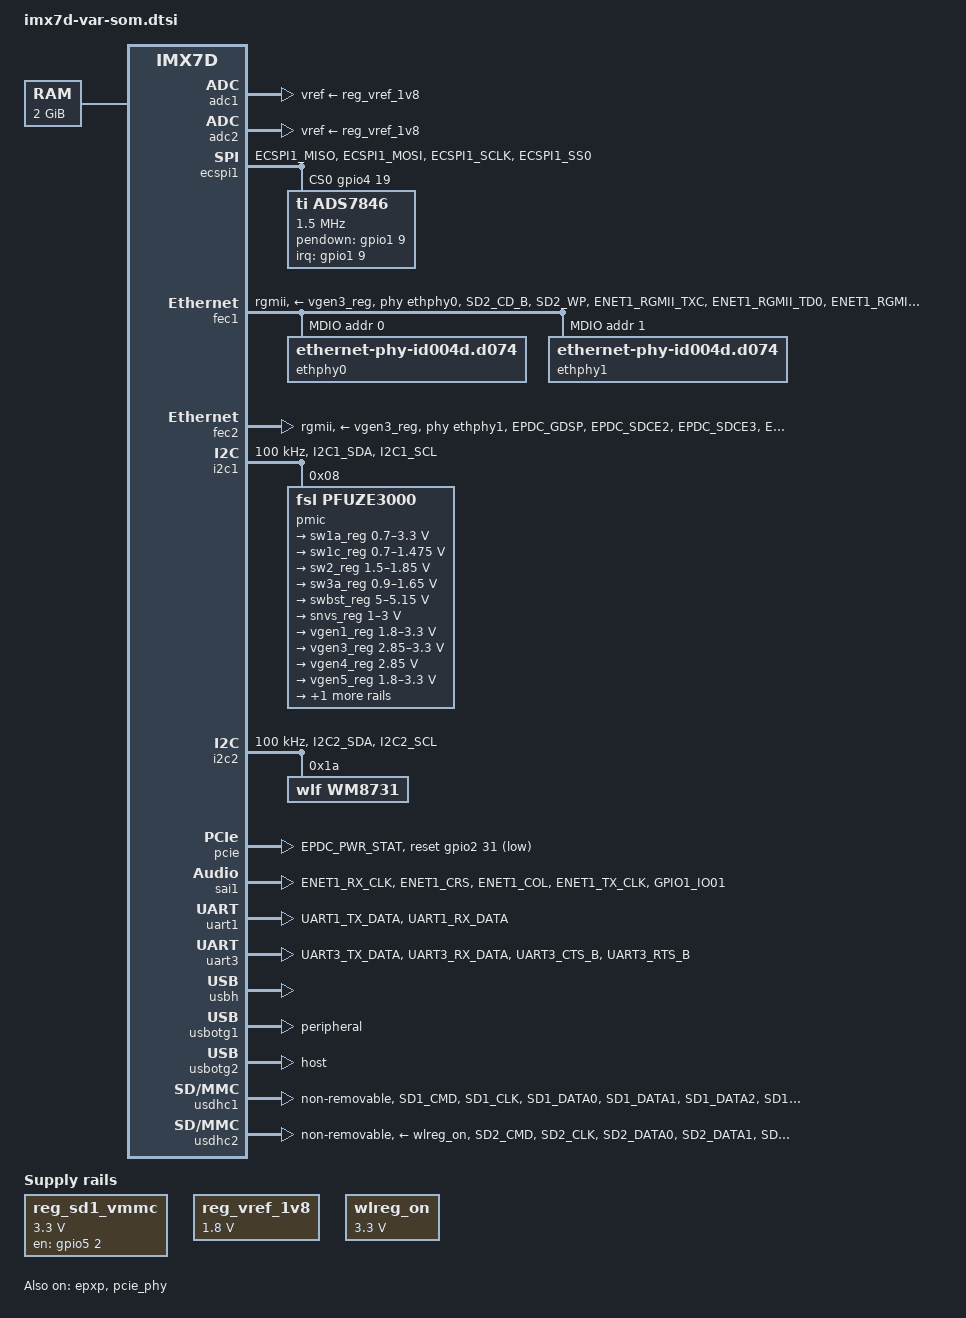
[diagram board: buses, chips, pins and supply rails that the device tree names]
/*
 * Copyright (C) 2015 Freescale Semiconductor, Inc.
 *
 * This program is free software; you can redistribute it and/or modify
 * it under the terms of the GNU General Public License version 2 as
 * published by the Free Software Foundation.
 */
#include <dt-bindings/input/input.h>
#include "imx7d.dtsi"

/ {
	memory {
		reg = <0x80000000 0x80000000>;
	};

	pxp_v4l2_out {
		compatible = "fsl,imx7d-pxp-v4l2", "fsl,imx6sx-pxp-v4l2", "fsl,imx6sl-pxp-v4l2";
		status = "okay";
	};

	sound {
		compatible = "simple-audio-card";
		simple-audio-card,name = "wm8731audio";
		simple-audio-card,widgets =
			"Headphone", "Headphone Jack",
			"Line", "Line Out",
			"Microphone", "Mic Jack",
			"Line", "Line In";
		simple-audio-card,routing =
			"Headphone Jack", "RHPOUT",
			"Headphone Jack", "LHPOUT",
			"LLINEIN", "Line Jack",
			"RLINEIN", "Line Jack",
			"MICIN", "Mic Bias",
			"Mic Bias", "Mic Jack";
		simple-audio-card,format = "i2s";
		simple-audio-card,bitclock-master = <&sound_master>;
		simple-audio-card,frame-master = <&sound_master>;
		/*simple-audio-card,bitclock-inversion;*/

		assigned-clocks = <&clks IMX7D_AUDIO_MCLK_ROOT_SRC>,
			          <&clks IMX7D_AUDIO_MCLK_ROOT_CLK>;
		assigned-clock-parents = <&clks IMX7D_PLL_AUDIO_POST_DIV>;
		assigned-clock-rates = <0>, <12288000>;

		sound_master: simple-audio-card,cpu {
			sound-dai = <&sai1 0>;
			system-clock-direction = "out";
		};

		simple-audio-card,codec {
			sound-dai = <&wm8731>;
			system-clock-type = "mclk";
			system-clock-frequency = <12288000>;
			system-clock-direction = "in";
		};
	};

	regulators {
		compatible = "simple-bus";
		#address-cells = <1>;
		#size-cells = <0>;

		reg_sd1_vmmc: regulator@3 {
			compatible = "regulator-fixed";
			regulator-name = "VDD_SD1";
			regulator-min-microvolt = <3300000>;
			regulator-max-microvolt = <3300000>;
			gpio = <&gpio5 2 GPIO_ACTIVE_HIGH>;
			startup-delay-us = <200000>;
			enable-active-high;
		};

		reg_vref_1v8: regulator@5 {
			compatible = "regulator-fixed";
			reg = <5>;
			regulator-name = "vref-1v8";
			regulator-min-microvolt = <1800000>;
			regulator-max-microvolt = <1800000>;
		};

		wlreg_on: fixedregulator@100 {
			compatible = "regulator-fixed";
			regulator-min-microvolt = <3300000>;
			regulator-max-microvolt = <3300000>;
			regulator-name = "wlreg_on";
		};
	};
};

&adc1 {
	vref-supply = <&reg_vref_1v8>;
	status = "okay";
};

&adc2 {
	vref-supply = <&reg_vref_1v8>;
	status = "okay";
};

&cpu0 {
	arm-supply = <&sw1a_reg>;
};

&clks {
	assigned-clocks = <&clks IMX7D_PLL_AUDIO_POST_DIV>;
	assigned-clock-rates = <884736000>;
};

&epxp {
	status = "okay";
};

&ecspi1 {
	fsl,spi-num-chipselects = <1>;
	pinctrl-names = "default", "sleep";
	pinctrl-0 = <&pinctrl_ecspi1>;
	pinctrl-1 = <&pinctrl_ecspi1_sleep>;
	cs-gpios = <&gpio4 19 0>;
	status = "okay";

	/* Touch */
	ads7846@0 {
		reg = <0>;
		compatible = "ti,ads7846";
		interrupt-parent = <&gpio1>;
		interrupts = <9 0>;
		spi-max-frequency = <1500000>;
		pendown-gpio = <&gpio1 9 0>;
		ti,x-min = /bits/ 16 <125>;
		ti,x-max = /bits/ 16 <4008>;
		ti,y-min = /bits/ 16 <282>;
		ti,y-max = /bits/ 16 <3864>;
		ti,x-plate-ohms = /bits/ 16 <180>;
		ti,pressure-max = /bits/ 16 <255>;
		ti,debounce-max = /bits/ 16 <10>;
		ti,debounce-tol = /bits/ 16 <3>;
		ti,debounce-rep = /bits/ 16 <1>;
		ti,settle-delay-usec = /bits/ 16 <150>;
		ti,keep-vref-on;
		linux,wakeup;
	};
};

&fec1 {
	pinctrl-names = "default";
	pinctrl-0 = <&pinctrl_enet1>;
	phy-supply=<&vgen3_reg>;
	assigned-clocks = <&clks IMX7D_ENET1_TIME_ROOT_SRC>,
			  <&clks IMX7D_ENET1_TIME_ROOT_CLK>;
	assigned-clock-parents = <&clks IMX7D_PLL_ENET_MAIN_100M_CLK>;
	assigned-clock-rates = <0>, <100000000>;
	phy-mode = "rgmii";
	phy-handle = <&ethphy0>;
	fsl,magic-packet;
	status = "okay";
	phy-reset-gpios = <&gpio5 11 GPIO_ACTIVE_LOW>;
        phy-reset-duration=<100>;
        phy-reset-on-resume;

	mdio {
		#address-cells = <1>;
		#size-cells = <0>;

		ethphy0: ethernet-phy@0 {
			compatible = "ethernet-phy-id004d.d074","ethernet-phy-ieee802.3-c22";
			reg = <0>;
		};

		ethphy1: ethernet-phy@1 {
			compatible = "ethernet-phy-id004d.d074","ethernet-phy-ieee802.3-c22";
			reg = <1>;
		};
	};
};

&fec2 {
	pinctrl-names = "default";
	pinctrl-0 = <&pinctrl_enet2>;
	phy-supply=<&vgen3_reg>;
	assigned-clocks = <&clks IMX7D_ENET2_TIME_ROOT_SRC>,
			  <&clks IMX7D_ENET2_TIME_ROOT_CLK>;
	assigned-clock-parents = <&clks IMX7D_PLL_ENET_MAIN_100M_CLK>;
	assigned-clock-rates = <0>, <100000000>;
	phy-mode = "rgmii";
	phy-handle = <&ethphy1>;
	phy-reset-gpios = <&gpio4 3 GPIO_ACTIVE_LOW>;
        phy-reset-duration=<100>;
        phy-reset-on-resume;
	fsl,magic-packet;
	status = "okay";
};

&i2c1 {
	clock-frequency = <100000>;
	pinctrl-names = "default";
	pinctrl-0 = <&pinctrl_i2c1>;
	status = "okay";

	pmic: pfuze3000@08 {
		compatible = "fsl,pfuze3000";
		reg = <0x08>;

		regulators {
			sw1a_reg: sw1a {
				regulator-min-microvolt = <700000>;
				regulator-max-microvolt = <3300000>;
				regulator-boot-on;
				regulator-always-on;
				regulator-ramp-delay = <6250>;
			};

			/* use sw1c_reg to align with pfuze100/pfuze200 */
			sw1c_reg: sw1b {
				regulator-min-microvolt = <700000>;
				regulator-max-microvolt = <1475000>;
				regulator-boot-on;
				regulator-always-on;
				regulator-ramp-delay = <6250>;
			};

			sw2_reg: sw2 {
				regulator-min-microvolt = <1500000>;
				regulator-max-microvolt = <1850000>;
				regulator-boot-on;
				regulator-always-on;
			};

			sw3a_reg: sw3 {
				regulator-min-microvolt = <900000>;
				regulator-max-microvolt = <1650000>;
				regulator-boot-on;
				regulator-always-on;
			};

			swbst_reg: swbst {
				regulator-min-microvolt = <5000000>;
				regulator-max-microvolt = <5150000>;
			};

			snvs_reg: vsnvs {
				regulator-min-microvolt = <1000000>;
				regulator-max-microvolt = <3000000>;
				regulator-boot-on;
				regulator-always-on;
			};

			vref_reg: vrefddr {
				regulator-boot-on;
				regulator-always-on;
			};

			vgen1_reg: vldo1 {
				regulator-min-microvolt = <1800000>;
				regulator-max-microvolt = <3300000>;
				regulator-always-on;
			};

			vgen2_reg: vldo2 {
				status = "disabled";
			};

			vgen3_reg: vccsd {
				regulator-min-microvolt = <2850000>;
				regulator-max-microvolt = <3300000>;
				regulator-boot-on;

				regulator-state-mem {
					regulator-off-in-suspend;
				};
			};

			vgen4_reg: v33 {
				regulator-min-microvolt = <2850000>;
				regulator-max-microvolt = <2850000>;
				regulator-always-on;
			};

			vgen5_reg: vldo3 {
				regulator-min-microvolt = <1800000>;
				regulator-max-microvolt = <3300000>;
				regulator-always-on;
			};

			vgen6_reg: vldo4 {
				regulator-min-microvolt = <1800000>;
				regulator-max-microvolt = <3300000>;
				regulator-always-on;
			};
		};
	};
};

&i2c2 {
	clock-frequency = <100000>;
	pinctrl-names = "default";
	pinctrl-0 = <&pinctrl_i2c2>;
	status = "okay";

	wm8731: wm8731@1a {
		#sound-dai-cells = <0>;
		compatible = "wlf,wm8731";
		reg = <0x1a>;
		clocks = <&clks IMX7D_AUDIO_MCLK_ROOT_CLK>;
		clock-names = "mclk";
		status = "okay";
	};
};

&gpmi {
	status = "disabled";
};

&iomuxc {
	pinctrl-names = "default";
	pinctrl-0 = <&pinctrl_hog_1>;

	imx7d-sdb {
		pinctrl_hog_1: hoggrp-1 {
			fsl,pins = <
				MX7D_PAD_GPIO1_IO14__GPIO1_IO14		0x80000000  /* bt reg on */
				MX7D_PAD_SD2_RESET_B__GPIO5_IO11	0x79  /* ethphy0 reset */
				MX7D_PAD_UART2_TX_DATA__GPIO4_IO3	0x79  /* ethphy1 reset */

				MX7D_PAD_SD1_CD_B__GPIO5_IO0		0x69
				MX7D_PAD_EPDC_DATA01__GPIO2_IO1		0x69
				MX7D_PAD_EPDC_DATA04__GPIO2_IO4		0x69
				MX7D_PAD_EPDC_DATA09__GPIO2_IO9		0x69
				MX7D_PAD_EPDC_DATA15__GPIO2_IO15	0x69
				MX7D_PAD_EPDC_DATA03__GPIO2_IO3		0x69
				MX7D_PAD_EPDC_DATA02__GPIO2_IO2		0x69
				MX7D_PAD_EPDC_DATA00__GPIO2_IO0		0x69
				MX7D_PAD_EPDC_DATA11__GPIO2_IO11	0x69
				MX7D_PAD_LCD_DATA22__GPIO3_IO27		0x69
				MX7D_PAD_EPDC_DATA08__GPIO2_IO8		0x69
				MX7D_PAD_EPDC_DATA07__GPIO2_IO7		0x69
				MX7D_PAD_EPDC_DATA06__GPIO2_IO6		0x69
				MX7D_PAD_LCD_DATA01__GPIO3_IO6		0x69
				MX7D_PAD_EPDC_DATA12__GPIO2_IO12	0x69
				MX7D_PAD_LCD_DATA02__GPIO3_IO7		0x69
				MX7D_PAD_LCD_DATA16__GPIO3_IO21		0x69
				MX7D_PAD_LCD_DATA03__GPIO3_IO8		0x69
				MX7D_PAD_LCD_DATA18__GPIO3_IO23		0x69
				MX7D_PAD_EPDC_BDR0__GPIO2_IO28		0x69
				MX7D_PAD_EPDC_BDR1__GPIO2_IO29		0x69
				MX7D_PAD_ECSPI2_MISO__GPIO4_IO22	0x69
				MX7D_PAD_ECSPI2_MOSI__GPIO4_IO21	0x69
				MX7D_PAD_ECSPI2_SS0__GPIO4_IO23		0x69
				MX7D_PAD_ECSPI2_SCLK__GPIO4_IO20	0x69
				MX7D_PAD_I2C3_SDA__GPIO4_IO13		0x69
				MX7D_PAD_I2C3_SCL__GPIO4_IO12		0x69
				MX7D_PAD_SD1_WP__GPIO5_IO1		0x69
				MX7D_PAD_I2C4_SDA__GPIO4_IO15		0x69
				MX7D_PAD_I2C4_SCL__GPIO4_IO14		0x69
				MX7D_PAD_SAI2_TX_BCLK__GPIO6_IO20	0x69
				MX7D_PAD_SAI2_TX_SYNC__GPIO6_IO19	0x69
				MX7D_PAD_GPIO1_IO10__GPIO1_IO10		0x69
				MX7D_PAD_GPIO1_IO12__GPIO1_IO12		0x69
				MX7D_PAD_GPIO1_IO11__GPIO1_IO11		0x69
				MX7D_PAD_LCD_DATA21__GPIO3_IO26		0x69
				MX7D_PAD_EPDC_DATA14__GPIO2_IO14	0x69
				MX7D_PAD_LCD_DATA23__GPIO3_IO28		0x69
				MX7D_PAD_LCD_DATA19__GPIO3_IO24		0x69
				MX7D_PAD_LCD_DATA20__GPIO3_IO25		0x69
				MX7D_PAD_EPDC_DATA05__GPIO2_IO5		0x69
				MX7D_PAD_EPDC_DATA13__GPIO2_IO13	0x69
				MX7D_PAD_LCD_RESET__GPIO3_IO4		0x69
				MX7D_PAD_LCD_DATA17__GPIO3_IO22		0x69
				MX7D_PAD_LCD_DATA00__GPIO3_IO5		0x69
				MX7D_PAD_LCD_ENABLE__GPIO3_IO1		0x69
				MX7D_PAD_LCD_HSYNC__GPIO3_IO2		0x69
				MX7D_PAD_LCD_VSYNC__GPIO3_IO3		0x69
				MX7D_PAD_LCD_CLK__GPIO3_IO0		0x69
				MX7D_PAD_LCD_DATA07__GPIO3_IO12		0x69
				MX7D_PAD_LCD_DATA08__GPIO3_IO13		0x69
				MX7D_PAD_LCD_DATA11__GPIO3_IO16		0x69
				MX7D_PAD_LCD_DATA12__GPIO3_IO17		0x69
				MX7D_PAD_LCD_DATA06__GPIO3_IO11		0x69
				MX7D_PAD_LCD_DATA15__GPIO3_IO20		0x69
				MX7D_PAD_LCD_DATA13__GPIO3_IO18		0x69
				MX7D_PAD_LCD_DATA10__GPIO3_IO15		0x69
				MX7D_PAD_LCD_DATA05__GPIO3_IO10		0x69
				MX7D_PAD_LCD_DATA09__GPIO3_IO14		0x69
				MX7D_PAD_LCD_DATA04__GPIO3_IO9		0x69
				MX7D_PAD_LCD_DATA14__GPIO3_IO19		0x69
				MX7D_PAD_EPDC_PWR_COM__GPIO2_IO30	0x69
				MX7D_PAD_GPIO1_IO13__GPIO1_IO13		0x69
				MX7D_PAD_SAI1_RX_BCLK__GPIO6_IO17	0x69
				MX7D_PAD_SAI2_RX_DATA__GPIO6_IO21	0x69
				MX7D_PAD_SAI1_RX_SYNC__GPIO6_IO16	0x69
				MX7D_PAD_SAI2_TX_DATA__GPIO6_IO22	0x69

			>;
		};

		pinctrl_pcie: pciegrp {
			fsl,pins = <
				MX7D_PAD_EPDC_PWR_STAT__GPIO2_IO31	0x79 /* pcie reset */
			>;
		};

		pinctrl_ecspi1: ecspi1grp {
			fsl,pins = <
				MX7D_PAD_ECSPI1_MISO__ECSPI1_MISO	0x2
				MX7D_PAD_ECSPI1_MOSI__ECSPI1_MOSI	0x2
				MX7D_PAD_ECSPI1_SCLK__ECSPI1_SCLK	0x2
				MX7D_PAD_ECSPI1_SS0__GPIO4_IO19		0x2
			>;
		};

		pinctrl_ecspi1_sleep: ecspi1grp_sleep {
			fsl,pins = <
				MX7D_PAD_ECSPI1_MISO__GPIO4_IO18	0x14
				MX7D_PAD_ECSPI1_MOSI__GPIO4_IO17	0x14
				MX7D_PAD_ECSPI1_SCLK__GPIO4_IO16	0x14
				MX7D_PAD_ECSPI1_SS0__DISABLED		0x14
			>;
		};

		pinctrl_enet1: enet1grp {
			fsl,pins = <
				MX7D_PAD_SD2_CD_B__ENET1_MDIO			0x3
				MX7D_PAD_SD2_WP__ENET1_MDC			0x3
				MX7D_PAD_ENET1_RGMII_TXC__ENET1_RGMII_TXC	0x1
				MX7D_PAD_ENET1_RGMII_TD0__ENET1_RGMII_TD0	0x1
				MX7D_PAD_ENET1_RGMII_TD1__ENET1_RGMII_TD1	0x1
				MX7D_PAD_ENET1_RGMII_TD2__ENET1_RGMII_TD2	0x1
				MX7D_PAD_ENET1_RGMII_TD3__ENET1_RGMII_TD3	0x1
				MX7D_PAD_ENET1_RGMII_TX_CTL__ENET1_RGMII_TX_CTL	0x1
				MX7D_PAD_ENET1_RGMII_RXC__ENET1_RGMII_RXC	0x1
				MX7D_PAD_ENET1_RGMII_RD0__ENET1_RGMII_RD0	0x1
				MX7D_PAD_ENET1_RGMII_RD1__ENET1_RGMII_RD1	0x1
				MX7D_PAD_ENET1_RGMII_RD2__ENET1_RGMII_RD2	0x1
				MX7D_PAD_ENET1_RGMII_RD3__ENET1_RGMII_RD3	0x1
				MX7D_PAD_ENET1_RGMII_RX_CTL__ENET1_RGMII_RX_CTL	0x1
			>;
		};

		pinctrl_enet2: enet2grp {
			fsl,pins = <
				MX7D_PAD_EPDC_GDSP__ENET2_RGMII_TXC		0x1
				MX7D_PAD_EPDC_SDCE2__ENET2_RGMII_TD0		0x1
				MX7D_PAD_EPDC_SDCE3__ENET2_RGMII_TD1		0x1
				MX7D_PAD_EPDC_GDCLK__ENET2_RGMII_TD2		0x1
				MX7D_PAD_EPDC_GDOE__ENET2_RGMII_TD3		0x1
				MX7D_PAD_EPDC_GDRL__ENET2_RGMII_TX_CTL		0x1
				MX7D_PAD_EPDC_SDCE1__ENET2_RGMII_RXC		0x1
				MX7D_PAD_EPDC_SDCLK__ENET2_RGMII_RD0		0x1
				MX7D_PAD_EPDC_SDLE__ENET2_RGMII_RD1		0x1
				MX7D_PAD_EPDC_SDOE__ENET2_RGMII_RD2		0x1
				MX7D_PAD_EPDC_SDSHR__ENET2_RGMII_RD3		0x1
				MX7D_PAD_EPDC_SDCE0__ENET2_RGMII_RX_CTL		0x1
			>;
		};

		pinctrl_i2c1: i2c1grp {
			fsl,pins = <
				MX7D_PAD_I2C1_SDA__I2C1_SDA	0x4000007f
				MX7D_PAD_I2C1_SCL__I2C1_SCL	0x4000007f
			>;
		};

		pinctrl_i2c2: i2c2grp {
			fsl,pins = <
				MX7D_PAD_I2C2_SDA__I2C2_SDA	0x4000007f
				MX7D_PAD_I2C2_SCL__I2C2_SCL	0x4000007f
			>;
		};

		pinctrl_sai1: sai1grp {
			fsl,pins = <
				MX7D_PAD_ENET1_RX_CLK__SAI1_TX_BCLK	0x1f
				MX7D_PAD_ENET1_CRS__SAI1_TX_SYNC	0x1f
				MX7D_PAD_ENET1_COL__SAI1_TX_DATA0	0x30
				MX7D_PAD_ENET1_TX_CLK__SAI1_RX_DATA0	0x1f
			>;
		};

		pinctrl_tsc2046_pendown: tsc2046_pendown {
			fsl,pins = <
				MX7D_PAD_GPIO1_IO09__GPIO1_IO9		0x59
			>;
		};

		pinctrl_uart1: uart1grp {
			fsl,pins = <
				MX7D_PAD_UART1_TX_DATA__UART1_DCE_TX	0x79
				MX7D_PAD_UART1_RX_DATA__UART1_DCE_RX	0x79
			>;
		};

		pinctrl_uart3: uart3grp {
			fsl,pins = <
				MX7D_PAD_UART3_TX_DATA__UART3_DCE_TX	0x79
				MX7D_PAD_UART3_RX_DATA__UART3_DCE_RX	0x79
				MX7D_PAD_UART3_CTS_B__UART3_DCE_CTS	0x79
				MX7D_PAD_UART3_RTS_B__UART3_DCE_RTS	0x79
			>;
		};
		pinctrl_usdhc1_gpio: usdhc1_gpiogrp {
			fsl,pins = <
				MX7D_PAD_SD1_RESET_B__GPIO5_IO2		0x59 /* vmmc */
				MX7D_PAD_GPIO1_IO08__SD1_VSELECT	0x59 /* VSELECT */
			>;
		};

		pinctrl_usdhc1: usdhc1grp {
			fsl,pins = <
				MX7D_PAD_SD1_CMD__SD1_CMD		0x59
				MX7D_PAD_SD1_CLK__SD1_CLK		0x19
				MX7D_PAD_SD1_DATA0__SD1_DATA0		0x59
				MX7D_PAD_SD1_DATA1__SD1_DATA1		0x59
				MX7D_PAD_SD1_DATA2__SD1_DATA2		0x59
				MX7D_PAD_SD1_DATA3__SD1_DATA3		0x59
			>;
		};

		pinctrl_usdhc1_100mhz: usdhc1grp_100mhz {
			fsl,pins = <
				MX7D_PAD_SD1_CMD__SD1_CMD		0x5a
				MX7D_PAD_SD1_CLK__SD1_CLK		0x1a
				MX7D_PAD_SD1_DATA0__SD1_DATA0		0x5a
				MX7D_PAD_SD1_DATA1__SD1_DATA1		0x5a
				MX7D_PAD_SD1_DATA2__SD1_DATA2		0x5a
				MX7D_PAD_SD1_DATA3__SD1_DATA3		0x5a
			>;
		};

		pinctrl_usdhc1_200mhz: usdhc1grp_200mhz {
			fsl,pins = <
				MX7D_PAD_SD1_CMD__SD1_CMD		0x5b
				MX7D_PAD_SD1_CLK__SD1_CLK		0x1b
				MX7D_PAD_SD1_DATA0__SD1_DATA0		0x5b
				MX7D_PAD_SD1_DATA1__SD1_DATA1		0x5b
				MX7D_PAD_SD1_DATA2__SD1_DATA2		0x5b
				MX7D_PAD_SD1_DATA3__SD1_DATA3		0x5b
			>;
		};

		pinctrl_usdhc2_sleep: usdhc2grp_sleep {
			fsl,pins = <
				MX7D_PAD_SD2_CMD__GPIO5_IO13		0x14
				MX7D_PAD_SD2_CLK__GPIO5_IO12		0x14
				MX7D_PAD_SD2_DATA0__GPIO5_IO14		0x14
				MX7D_PAD_SD2_DATA1__GPIO5_IO15		0x14
				MX7D_PAD_SD2_DATA2__GPIO5_IO16		0x14
				MX7D_PAD_SD2_DATA3__GPIO5_IO17		0x14
			>;
		};

		pinctrl_usdhc2: usdhc2grp {
			fsl,pins = <
				MX7D_PAD_SD2_CMD__SD2_CMD	0x59
				MX7D_PAD_SD2_CLK__SD2_CLK	0x19
				MX7D_PAD_SD2_DATA0__SD2_DATA0	0x59
				MX7D_PAD_SD2_DATA1__SD2_DATA1	0x59
				MX7D_PAD_SD2_DATA2__SD2_DATA2	0x59
				MX7D_PAD_SD2_DATA3__SD2_DATA3	0x59
			>;
		};

		pinctrl_usdhc2_100mhz: usdhc2grp_100mhz {
			fsl,pins = <
				MX7D_PAD_SD2_CMD__SD2_CMD	0x5a
				MX7D_PAD_SD2_CLK__SD2_CLK	0x1a
				MX7D_PAD_SD2_DATA0__SD2_DATA0	0x5a
				MX7D_PAD_SD2_DATA1__SD2_DATA1	0x5a
				MX7D_PAD_SD2_DATA2__SD2_DATA2	0x5a
				MX7D_PAD_SD2_DATA3__SD2_DATA3	0x5a
			>;
		};

		pinctrl_usdhc2_200mhz: usdhc2grp_200mhz {
			fsl,pins = <
				MX7D_PAD_SD2_CMD__SD2_CMD	0x5b
				MX7D_PAD_SD2_CLK__SD2_CLK	0x1b
				MX7D_PAD_SD2_DATA0__SD2_DATA0	0x5b
				MX7D_PAD_SD2_DATA1__SD2_DATA1	0x5b
				MX7D_PAD_SD2_DATA2__SD2_DATA2	0x5b
				MX7D_PAD_SD2_DATA3__SD2_DATA3	0x5b
			>;
		};
	};
};

&pcie_phy {
	status = "okay";
};

&pcie {
	pinctrl-names = "default";
	pinctrl-0 = <&pinctrl_pcie>;
	reset-gpio = <&gpio2 31 GPIO_ACTIVE_LOW>;
	status = "okay";
};

&sai1 {
	#sound-dai-cells = <1>;
	pinctrl-names = "default";
	pinctrl-0 = <&pinctrl_sai1 &pinctrl_sai1_mclk>;
	assigned-clocks = <&clks IMX7D_SAI1_ROOT_SRC>,
			  <&clks IMX7D_SAI1_ROOT_CLK>;
	assigned-clock-parents = <&clks IMX7D_PLL_AUDIO_POST_DIV>;
	assigned-clock-rates = <0>, <36864000>;
	status = "okay";
};

&sdma {
	status = "okay";
};

&iomuxc_lpsr {
	pinctrl-names = "default";
	pinctrl-0 = <&pinctrl_hog_2>;

	imx7d-sdb {
		pinctrl_hog_2: hoggrp-2 {
			fsl,pins = <
				MX7D_PAD_GPIO1_IO07__GPIO1_IO7		0x59
				MX7D_PAD_GPIO1_IO05__GPIO1_IO5		0x59
				MX7D_PAD_GPIO1_IO02__GPIO1_IO2		0x59
				MX7D_PAD_GPIO1_IO00__GPIO1_IO0		0x59
			>;
		};

		pinctrl_sai1_mclk: sai1grp_mclk {
			fsl,pins = <
				MX7D_PAD_GPIO1_IO01__SAI1_MCLK		0x1f
			>;
		};

		pinctrl_wlan: wlangrp {
			fsl,pins = <
				MX7D_PAD_GPIO1_IO04__GPIO1_IO4		0x59 /* WL_REG_ON */
				MX7D_PAD_GPIO1_IO03__OSC32K_32K_OUT	0xb0 /* WIFI Slow clock */
			>;
		};

		pinctrl_wlan_sleep: wlangrp_sleep {
			fsl,pins = <
				MX7D_PAD_GPIO1_IO04__GPIO1_IO4		0x14 /* WL_REG_ON */
				MX7D_PAD_GPIO1_IO03__OSC32K_32K_OUT	0x14 /* WIFI Slow clock */
			>;
		};
	};
};

&uart1 {
	pinctrl-names = "default";
	pinctrl-0 = <&pinctrl_uart1>;
	assigned-clocks = <&clks IMX7D_UART1_ROOT_SRC>;
	assigned-clock-parents = <&clks IMX7D_OSC_24M_CLK>;
	status = "okay";
};

&uart3 {
	pinctrl-names = "default";
	pinctrl-0 = <&pinctrl_uart3>;
	assigned-clocks = <&clks IMX7D_UART3_ROOT_SRC>;
	assigned-clock-parents = <&clks IMX7D_PLL_SYS_MAIN_240M_CLK>;
	fsl,uart-has-rtscts;
	status = "okay";
};
&usbh {
	status = "okay";
};

&usbotg1 {
	dr_mode = "peripheral";
	status = "okay";
};

&usbotg2 {
	dr_mode = "host";
	status = "okay";
};

&usdhc1 {
	pinctrl-names = "default", "state_100mhz", "state_200mhz";
	pinctrl-0 = <&pinctrl_usdhc1>, <&pinctrl_usdhc1_gpio>;
	pinctrl-1 = <&pinctrl_usdhc1_100mhz>, <&pinctrl_usdhc1_gpio>;
	pinctrl-2 = <&pinctrl_usdhc1_200mhz>, <&pinctrl_usdhc1_gpio>;
	non-removable;
	no-1-8-v;
	enable-sdio-wakeup;
	keep-power-in-suspend;
	status = "okay";
};

&usdhc2 {
	pinctrl-names = "default", "state_100mhz", "state_200mhz","sleep";
	pinctrl-0 = <&pinctrl_usdhc2>, <&pinctrl_wlan>;
	pinctrl-1 = <&pinctrl_usdhc2_100mhz>, <&pinctrl_wlan>;
	pinctrl-2 = <&pinctrl_usdhc2_200mhz>, <&pinctrl_wlan>;
	pinctrl-3 = <&pinctrl_usdhc2_sleep>, <&pinctrl_wlan_sleep>;
	enable-sdio-wakeup;
	keep-power-in-suspend;
	non-removable;
	pm-ignore-notify;
	vmmc-supply = <&wlreg_on>;
	status = "okay";
};

&usdhc3 {
	status = "disabled";
};

&snvs_rtc {
       status = "disabled";
};

